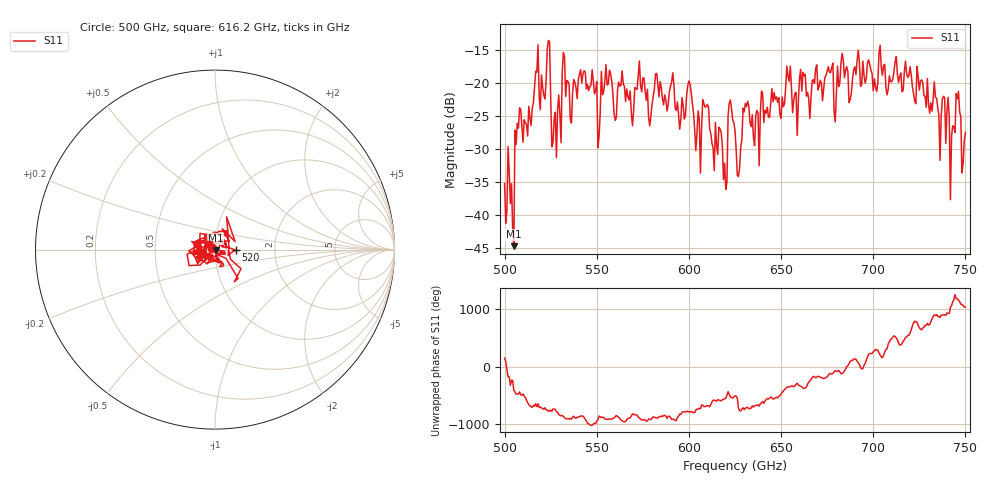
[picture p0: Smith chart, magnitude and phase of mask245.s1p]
!Created with skrf (http://scikit-rf.org).
# GHz S MA R 50.0
!freq magS11 angS11
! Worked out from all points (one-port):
!   401 points, 500 GHz to 750 GHz, reference 50 ohm
!   lowest |S11| = -44.7 dB at 505 GHz (marker M1), VSWR 1.01, Z = 50.3 - j0.473 ohm
!   |S11| at or under -10 dB: start of sweep to end of sweep
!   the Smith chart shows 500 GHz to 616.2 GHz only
!   S11 on the Smith chart (normalised r, x): 500 GHz: 0.97, +0.02; 520 GHz: 1.26, -0.01; 616.2 GHz: 0.93, +0.06
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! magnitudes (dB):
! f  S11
! 500 GHz  -35.2
! 505 GHz  -44.7
! 507.5 GHz  -26.8
! 520 GHz  -18.8
! 523.8 GHz  -13.6
! 526.9 GHz  -25.5
! 531.2 GHz  -18.5
! 542.5 GHz  -18.6
! 550.6 GHz  -29.8
! 562.5 GHz  -20.5
! 590.6 GHz  -19.9
! 593.8 GHz  -22.9
! 600 GHz  -19.7
! 605 GHz  -24.2
! 608.8 GHz  -23.7
! 616.2 GHz  -26.7
! 619.4 GHz  -32.1
! 622.5 GHz  -22.6
! 625 GHz  -27.2
! 626.9 GHz  -34.2
! 630.6 GHz  -23.1
! 636.9 GHz  -24.2
! 656.2 GHz  -24.5
! 687.5 GHz  -22.5
! 718.8 GHz  -19.2
! 743.1 GHz  -26.5
! 746.2 GHz  -21.3
! 750 GHz  -27.5
